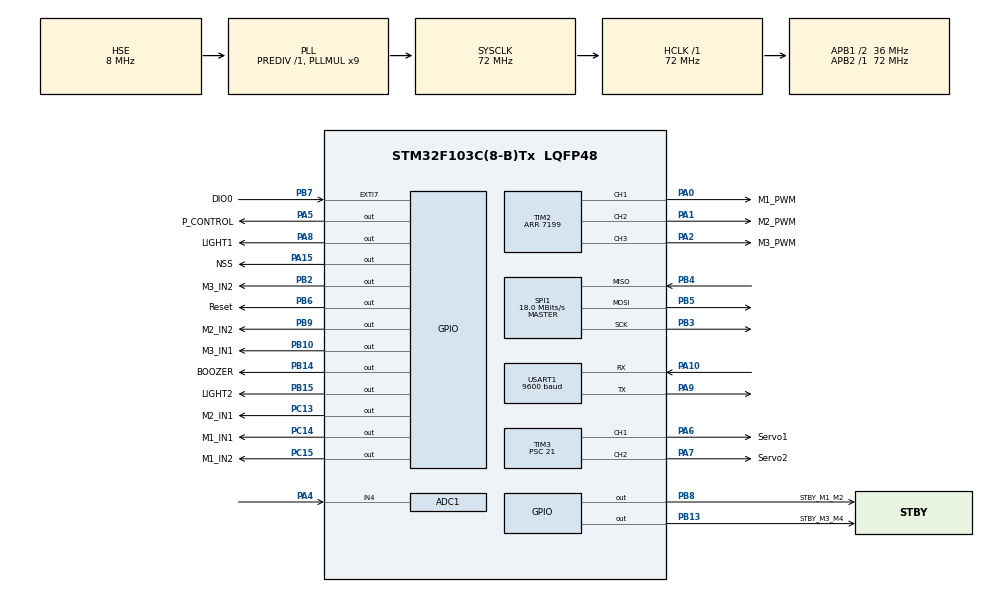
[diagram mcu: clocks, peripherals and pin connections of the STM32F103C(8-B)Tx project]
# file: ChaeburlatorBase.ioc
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ADC1.Channel-0\#ChannelRegularConversion=ADC_CHANNEL_4
ADC1.Channel-1\#ChannelRegularConversion=ADC_CHANNEL_4
ADC1.ContinuousConvMode=ENABLE
ADC1.NbrOfConversion=2
ADC1.NbrOfConversionFlag=1
ADC1.Rank-0\#ChannelRegularConversion=1
ADC1.Rank-1\#ChannelRegularConversion=2
ADC1.SamplingTime-0\#ChannelRegularConversion=ADC_SAMPLETIME_28CYCLES_5
ADC1.SamplingTime-1\#ChannelRegularConversion=ADC_SAMPLETIME_28CYCLES_5
ADC1.master=1
Dma.ADC1.0.Direction=DMA_PERIPH_TO_MEMORY
Dma.ADC1.0.Instance=DMA1_Channel1
Dma.ADC1.0.MemDataAlignment=DMA_MDATAALIGN_HALFWORD
Dma.ADC1.0.MemInc=DMA_MINC_ENABLE
Dma.ADC1.0.Mode=DMA_CIRCULAR
Dma.ADC1.0.PeriphDataAlignment=DMA_PDATAALIGN_HALFWORD
Dma.ADC1.0.PeriphInc=DMA_PINC_DISABLE
Dma.ADC1.0.Priority=DMA_PRIORITY_LOW
Dma.Request0=ADC1
FREERTOS.BinarySemaphores01=SemDMA_LoRa,Dynamic,NULL,Available;SemDMA_VoltMeas,Dynamic,NULL,Available
FREERTOS.INCLUDE_uxTaskGetStackHighWaterMark=1
FREERTOS.INCLUDE_xTaskGetHandle=1
FREERTOS.Queues01=UART_Rx_Que,30,uint8_t,0,Dynamic,NULL,NULL
FREERTOS.Tasks01=LoRaRx,1,90,StartLoRaRx,Default,NULL,Dynamic,NULL,NULL;Console,-2,180,StartConsole,Default,NULL,Dynamic,NULL,NULL;Motor1_2,-1,85,StartMotor1_2,Default,NULL,Dynamic,NULL,NULL;UARTOut,-2,200,StartUARTOut,Default,NULL,Dynamic,NULL,NULL;Serv1_2,-2,64,Servo_Cam_Steer,Default,NULL,Dynamic,NULL,NULL;Motor3,-1,64,StartMotor3,Default,NULL,Dynamic,NULL,NULL;VoltProtect,-1,64,StartVoltProtect,Default,NULL,Dynamic,NULL,NULL;LightSignal,-2,64,StartLightSignal,Default,NULL,Dynamic,NULL,NULL;SoundAlarm,-1,75,StartSoundAlarm,Default,NULL,Dynamic,NULL,NULL;DataProtect,0,300,StartDataProtect,Default,NULL,Dynamic,NULL,NULL
FREERTOS.configMAX_PRIORITIES=5
FREERTOS.configMINIMAL_STACK_SIZE=64
FREERTOS.configTOTAL_HEAP_SIZE=8000
FREERTOS.configUSE_NEWLIB_REENTRANT=1
FREERTOS.configUSE_TRACE_FACILITY=1
Mcu.Family=STM32F1
Mcu.Name=STM32F103C(8-B)Tx
Mcu.Package=LQFP48
NVIC.DMA1_Channel1_IRQn=true\:5\:0\:false\:false\:true\:true\:false\:true\:true
NVIC.EXTI9_5_IRQn=true\:5\:0\:false\:false\:true\:true\:true\:true\:true
NVIC.PriorityGroup=NVIC_PRIORITYGROUP_4
NVIC.TIM1_UP_IRQn=true\:5\:0\:false\:false\:true\:true\:true\:true\:true
NVIC.USART1_IRQn=true\:5\:0\:false\:false\:true\:true\:true\:true\:true
PA0-WKUP.GPIO_Label=M1_PWM
PA0-WKUP.Signal=S_TIM2_CH1_ETR
PA1.GPIO_Label=M2_PWM
PA1.Signal=S_TIM2_CH2
PA10.Mode=Asynchronous
PA10.Signal=USART1_RX
PA13.Mode=Serial_Wire
PA13.Signal=SYS_JTMS-SWDIO
PA14.Mode=Serial_Wire
PA14.Signal=SYS_JTCK-SWCLK
PA15.GPIO_Label=NSS
PA15.GPIO_PuPd=GPIO_PULLUP
PA15.Signal=GPIO_Output
PA2.GPIO_Label=M3_PWM
PA2.Signal=S_TIM2_CH3
PA4.Signal=ADCx_IN4
PA5.GPIO_Label=P_CONTROL
PA5.GPIO_PuPd=GPIO_PULLDOWN
PA5.Signal=GPIO_Output
PA6.GPIO_Label=Servo1
PA6.Signal=S_TIM3_CH1
PA7.GPIO_Label=Servo2
PA7.Signal=S_TIM3_CH2
PA8.GPIO_Label=LIGHT1
PA8.GPIO_PuPd=GPIO_PULLDOWN
PA8.PinState=GPIO_PIN_RESET
PA8.Signal=GPIO_Output
PA9.Mode=Asynchronous
PA9.Signal=USART1_TX
PB10.GPIO_Label=M3_IN1
PB10.Signal=GPIO_Output
PB13.GPIO_Label=STBY_M3_M4
PB13.Signal=GPIO_Output
PB14.GPIO_Label=BOOZER
PB14.GPIO_PuPd=GPIO_PULLDOWN
PB14.Signal=GPIO_Output
PB15.GPIO_Label=LIGHT2
PB15.GPIO_PuPd=GPIO_PULLDOWN
PB15.PinState=GPIO_PIN_RESET
PB15.Signal=GPIO_Output
PB2.GPIO_Label=M3_IN2
PB2.Signal=GPIO_Output
PB3.Mode=Full_Duplex_Master
PB3.Signal=SPI1_SCK
PB4.Mode=Full_Duplex_Master
PB4.Signal=SPI1_MISO
PB5.Mode=Full_Duplex_Master
PB5.Signal=SPI1_MOSI
PB6.GPIO_Label=Reset
PB6.GPIO_PuPd=GPIO_PULLUP
PB6.Signal=GPIO_Output
PB7.GPIO_Label=DIO0
PB7.GPIO_ModeDefaultEXTI=GPIO_MODE_IT_RISING
PB7.GPIO_PuPd=GPIO_PULLDOWN
PB7.Signal=GPXTI7
PB8.GPIO_Label=STBY_M1_M2
PB8.Signal=GPIO_Output
PB9.GPIO_Label=M2_IN2
PB9.Signal=GPIO_Output
PC13-TAMPER-RTC.GPIO_Label=M2_IN1
PC13-TAMPER-RTC.Signal=GPIO_Output
PC14-OSC32_IN.GPIO_Label=M1_IN1
PC14-OSC32_IN.Signal=GPIO_Output
PC15-OSC32_OUT.GPIO_Label=M1_IN2
PC15-OSC32_OUT.Signal=GPIO_Output
PD0-OSC_IN.Mode=HSE-External-Oscillator
PD0-OSC_IN.Signal=RCC_OSC_IN
PD1-OSC_OUT.Mode=HSE-External-Oscillator
PD1-OSC_OUT.Signal=RCC_OSC_OUT
ProjectManager.HeapSize=0x200
ProjectManager.StackSize=0x400
ProjectManager.TargetToolchain=STM32CubeIDE
RCC.ADCPresc=RCC_ADCPCLK2_DIV6
RCC.AHBFreq_Value=72000000
RCC.APB1CLKDivider=RCC_HCLK_DIV2
RCC.APB1Freq_Value=36000000
RCC.APB1TimFreq_Value=72000000
RCC.APB2Freq_Value=72000000
RCC.APB2TimFreq_Value=72000000
RCC.HCLKFreq_Value=72000000
RCC.PLLMUL=RCC_PLL_MUL9
RCC.PLLSourceVirtual=RCC_PLLSOURCE_HSE
RCC.SYSCLKFreq_VALUE=72000000
RCC.SYSCLKSource=RCC_SYSCLKSOURCE_PLLCLK
RCC.USBFreq_Value=72000000
SH.ADCx_IN4.0=ADC1_IN4,IN4
SH.S_TIM2_CH1_ETR.0=TIM2_CH1,PWM Generation1 CH1
SH.S_TIM2_CH2.0=TIM2_CH2,PWM Generation2 CH2
SH.S_TIM2_CH3.0=TIM2_CH3,PWM Generation3 CH3
SH.S_TIM3_CH1.0=TIM3_CH1,PWM Generation1 CH1
SH.S_TIM3_CH2.0=TIM3_CH2,PWM Generation2 CH2
SPI1.BaudRatePrescaler=SPI_BAUDRATEPRESCALER_4
SPI1.CalculateBaudRate=18.0 MBits/s
SPI1.Direction=SPI_DIRECTION_2LINES
SPI1.Mode=SPI_MODE_MASTER
SPI1.VirtualType=VM_MASTER
TIM1.Period=7199
TIM1.Prescaler=9999
TIM2.Channel-PWM\ Generation1\ CH1=TIM_CHANNEL_1
TIM2.Channel-PWM\ Generation2\ CH2=TIM_CHANNEL_2
TIM2.Channel-PWM\ Generation3\ CH3=TIM_CHANNEL_3
TIM2.Period=7199
TIM3.Channel-PWM\ Generation1\ CH1=TIM_CHANNEL_1
TIM3.Channel-PWM\ Generation2\ CH2=TIM_CHANNEL_2
TIM3.Prescaler=21
USART1.BaudRate=9600
USART1.Parity=PARITY_ODD
USART1.VirtualMode=VM_ASYNC
USART1.WordLength=WORDLENGTH_9B
VP_FREERTOS_VS_CMSIS_V1.Mode=CMSIS_V1
VP_TIM1_VS_ClockSourceINT.Mode=Internal
board=custom

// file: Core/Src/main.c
/* USER CODE BEGIN Header */
/**
  ******************************************************************************
  * @file           : main.c
  * @brief          : Main program body
  ******************************************************************************
  * @attention
  *
  * Copyright (c) 2025 STMicroelectronics.
  * All rights reserved.
  *
  * This software is licensed under terms that can be found in the LICENSE file
  * in the root directory of this software component.
  * If no LICENSE file comes with this software, it is provided AS-IS.
  *
  ******************************************************************************
  */
/* USER CODE END Header */
#include "main.h"
#include "cmsis_os.h"

/* USER CODE BEGIN Includes */
#include "UART_Outpt.h"
#include "Servo.h"
#include "ADC_LoadCell.h"
/* USER CODE END Includes */

/* USER CODE BEGIN PD */
#ifdef TestExecutor
 float Volt = 0; // Battery voltage
#endif

/* USER CODE END PD */

ADC_HandleTypeDef hadc1;
DMA_HandleTypeDef hdma_adc1;

SPI_HandleTypeDef hspi1;

TIM_HandleTypeDef htim1;
TIM_HandleTypeDef htim2;
TIM_HandleTypeDef htim3;

UART_HandleTypeDef huart1;

osThreadId LoRaRxHandle;
osThreadId ConsoleHandle;
osThreadId Motor1_2Handle;
osThreadId UARTOutHandle;
osThreadId Serv1_2Handle;
osThreadId Motor3Handle;
osThreadId VoltProtectHandle;
osThreadId LightSignalHandle;
osThreadId SoundAlarmHandle;
osThreadId DataProtectHandle;
osMessageQId UART_Rx_QueHandle;
osSemaphoreId SemDMA_LoRaHandle;
osSemaphoreId SemDMA_VoltMeasHandle;
/* USER CODE BEGIN PV */

EventGroupHandle_t xControlEventGroup;
//int8_t Acceleration;

/* USER CODE END PV */

void SystemClock_Config(void);
static void MX_GPIO_Init(void);
static void MX_DMA_Init(void);
static void MX_TIM2_Init(void);
static void MX_USART1_UART_Init(void);
static void MX_SPI1_Init(void);
static void MX_ADC1_Init(void);
static void MX_TIM1_Init(void);
static void MX_TIM3_Init(void);
void StartLoRaRx(void const * argument);
void StartConsole(void const * argument);
void StartMotor1_2(void const * argument);
void StartUARTOut(void const * argument);
void Servo_Cam_Steer(void const * argument);
void StartMotor3(void const * argument);
void StartVoltProtect(void const * argument);
void StartLightSignal(void const * argument);
void StartSoundAlarm(void const * argument);
void StartDataProtect(void const * argument);

int main(void)
{

  /* MCU Configuration--------------------------------------------------------*/

  /* Reset of all peripherals, Initializes the Flash interface and the Systick. */
  HAL_Init();

  /* Configure the system clock */
  SystemClock_Config();

  /* Initialize all configured peripherals */
  MX_GPIO_Init();
  MX_DMA_Init();
  MX_TIM2_Init();
  MX_USART1_UART_Init();
  MX_SPI1_Init();
  MX_ADC1_Init();
  MX_TIM1_Init();
  MX_TIM3_Init();

  /* Create the semaphores(s) */
  /* definition and creation of SemDMA_LoRa */
  osSemaphoreDef(SemDMA_LoRa);
  SemDMA_LoRaHandle = osSemaphoreCreate(osSemaphore(SemDMA_LoRa), 1);

  /* definition and creation of SemDMA_VoltMeas */
  osSemaphoreDef(SemDMA_VoltMeas);
  SemDMA_VoltMeasHandle = osSemaphoreCreate(osSemaphore(SemDMA_VoltMeas), 1);

  /* USER CODE BEGIN RTOS_SEMAPHORES */
  /* add semaphores, ... */
  osSemaphoreWait(SemDMA_LoRaHandle, 0);
  osSemaphoreWait(SemDMA_VoltMeasHandle, 0);
  /* USER CODE END RTOS_SEMAPHORES */

  /* USER CODE BEGIN RTOS_TIMERS */
  /* start timers, add new ones, ... */
  xControlEventGroup = xEventGroupCreate();
  /* USER CODE END RTOS_TIMERS */

  /* Create the queue(s) */
  /* definition and creation of UART_Rx_Que */
  osMessageQDef(UART_Rx_Que, 30, uint8_t);
  UART_Rx_QueHandle = osMessageCreate(osMessageQ(UART_Rx_Que), NULL);

  /* Create the thread(s) */
  /* definition and creation of LoRaRx */
  osThreadDef(LoRaRx, StartLoRaRx, osPriorityAboveNormal, 0, 90);
  LoRaRxHandle = osThreadCreate(osThread(LoRaRx), NULL);

  /* definition and creation of Console */
//  osThreadDef(Console, StartConsole, osPriorityLow, 0, 180);
//  ConsoleHandle = osThreadCreate(osThread(Console), NULL);

  /* definition and creation of Motor1_2 */
  osThreadDef(Motor1_2, StartMotor1_2, osPriorityBelowNormal, 0, 85);
  Motor1_2Handle = osThreadCreate(osThread(Motor1_2), NULL);

  /* definition and creation of UARTOut */
//  osThreadDef(UARTOut, StartUARTOut, osPriorityLow, 0, 200);
//  UARTOutHandle = osThreadCreate(osThread(UARTOut), NULL);

  /* definition and creation of Serv1_2 */
  osThreadDef(Serv1_2, Servo_Cam_Steer, osPriorityLow, 0, 64);
  Serv1_2Handle = osThreadCreate(osThread(Serv1_2), NULL);

  /* definition and creation of Motor3 */
  osThreadDef(Motor3, StartMotor3, osPriorityBelowNormal, 0, 64);
  Motor3Handle = osThreadCreate(osThread(Motor3), NULL);

  /* definition and creation of VoltProtect */
  osThreadDef(VoltProtect, StartVoltProtect, osPriorityBelowNormal, 0, 70);
  VoltProtectHandle = osThreadCreate(osThread(VoltProtect), NULL);

  /* definition and creation of LightSignal */
  osThreadDef(LightSignal, StartLightSignal, osPriorityLow, 0, 64);
  LightSignalHandle = osThreadCreate(osThread(LightSignal), NULL);

  /* definition and creation of SoundAlarm */
  osThreadDef(SoundAlarm, StartSoundAlarm, osPriorityBelowNormal, 0, 75);
  SoundAlarmHandle = osThreadCreate(osThread(SoundAlarm), NULL);

  /* definition and creation of DataProtect */
  osThreadDef(DataProtect, StartDataProtect, osPriorityNormal, 0, 300);
  DataProtectHandle = osThreadCreate(osThread(DataProtect), NULL);

  /* Start scheduler */
  osKernelStart();

  /* We should never get here as control is now taken by the scheduler */

  /* Infinite loop */
  while (1)
  {

  }
}

void SystemClock_Config(void)
{
  RCC_OscInitTypeDef RCC_OscInitStruct = {0};
  RCC_ClkInitTypeDef RCC_ClkInitStruct = {0};
  RCC_PeriphCLKInitTypeDef PeriphClkInit = {0};

  /** Initializes the RCC Oscillators according to the specified parameters
  * in the RCC_OscInitTypeDef structure.
  */
  RCC_OscInitStruct.OscillatorType = RCC_OSCILLATORTYPE_HSE;
  RCC_OscInitStruct.HSEState = RCC_HSE_ON;
  RCC_OscInitStruct.HSEPredivValue = RCC_HSE_PREDIV_DIV1;
  RCC_OscInitStruct.HSIState = RCC_HSI_ON;
  RCC_OscInitStruct.PLL.PLLState = RCC_PLL_ON;
  RCC_OscInitStruct.PLL.PLLSource = RCC_PLLSOURCE_HSE;
  RCC_OscInitStruct.PLL.PLLMUL = RCC_PLL_MUL9;
  if (HAL_RCC_OscConfig(&RCC_OscInitStruct) != HAL_OK)
  {
    Error_Handler();
  }

  /** Initializes the CPU, AHB and APB buses clocks
  */
  RCC_ClkInitStruct.ClockType = RCC_CLOCKTYPE_HCLK|RCC_CLOCKTYPE_SYSCLK
                              |RCC_CLOCKTYPE_PCLK1|RCC_CLOCKTYPE_PCLK2;
  RCC_ClkInitStruct.SYSCLKSource = RCC_SYSCLKSOURCE_PLLCLK;
  RCC_ClkInitStruct.AHBCLKDivider = RCC_SYSCLK_DIV1;
  RCC_ClkInitStruct.APB1CLKDivider = RCC_HCLK_DIV2;
  RCC_ClkInitStruct.APB2CLKDivider = RCC_HCLK_DIV1;

  if (HAL_RCC_ClockConfig(&RCC_ClkInitStruct, FLASH_LATENCY_2) != HAL_OK)
  {
    Error_Handler();
  }
  PeriphClkInit.PeriphClockSelection = RCC_PERIPHCLK_ADC;
  PeriphClkInit.AdcClockSelection = RCC_ADCPCLK2_DIV6;
  if (HAL_RCCEx_PeriphCLKConfig(&PeriphClkInit) != HAL_OK)
  {
    Error_Handler();
  }
}

static void MX_ADC1_Init(void)
{

  ADC_ChannelConfTypeDef sConfig = {0};

  /** Common config
  */
  hadc1.Instance = ADC1;
  hadc1.Init.ScanConvMode = ADC_SCAN_ENABLE;
  hadc1.Init.ContinuousConvMode = ENABLE;
  hadc1.Init.DiscontinuousConvMode = DISABLE;
  hadc1.Init.ExternalTrigConv = ADC_SOFTWARE_START;
  hadc1.Init.DataAlign = ADC_DATAALIGN_RIGHT;
  hadc1.Init.NbrOfConversion = 2;
  if (HAL_ADC_Init(&hadc1) != HAL_OK)
  {
    Error_Handler();
  }

  /** Configure Regular Channel
  */
  sConfig.Channel = ADC_CHANNEL_4;
  sConfig.Rank = ADC_REGULAR_RANK_1;
  sConfig.SamplingTime = ADC_SAMPLETIME_28CYCLES_5;
  if (HAL_ADC_ConfigChannel(&hadc1, &sConfig) != HAL_OK)
  {
    Error_Handler();
  }

  /** Configure Regular Channel
  */
  sConfig.Rank = ADC_REGULAR_RANK_2;
  if (HAL_ADC_ConfigChannel(&hadc1, &sConfig) != HAL_OK)
  {
    Error_Handler();
  }

}

static void MX_SPI1_Init(void)
{

  /* SPI1 parameter configuration*/
  hspi1.Instance = SPI1;
  hspi1.Init.Mode = SPI_MODE_MASTER;
  hspi1.Init.Direction = SPI_DIRECTION_2LINES;
  hspi1.Init.DataSize = SPI_DATASIZE_8BIT;
  hspi1.Init.CLKPolarity = SPI_POLARITY_LOW;
  hspi1.Init.CLKPhase = SPI_PHASE_1EDGE;
  hspi1.Init.NSS = SPI_NSS_SOFT;
  hspi1.Init.BaudRatePrescaler = SPI_BAUDRATEPRESCALER_4;
  hspi1.Init.FirstBit = SPI_FIRSTBIT_MSB;
  hspi1.Init.TIMode = SPI_TIMODE_DISABLE;
  hspi1.Init.CRCCalculation = SPI_CRCCALCULATION_DISABLE;
  hspi1.Init.CRCPolynomial = 10;
  if (HAL_SPI_Init(&hspi1) != HAL_OK)
  {
    Error_Handler();
  }

}

static void MX_TIM1_Init(void)
{

  TIM_ClockConfigTypeDef sClockSourceConfig = {0};
  TIM_MasterConfigTypeDef sMasterConfig = {0};

  htim1.Instance = TIM1;
  htim1.Init.Prescaler = 9999;
  htim1.Init.CounterMode = TIM_COUNTERMODE_UP;
  htim1.Init.Period = 7199;
  htim1.Init.ClockDivision = TIM_CLOCKDIVISION_DIV1;
  htim1.Init.RepetitionCounter = 0;
  htim1.Init.AutoReloadPreload = TIM_AUTORELOAD_PRELOAD_DISABLE;
  if (HAL_TIM_Base_Init(&htim1) != HAL_OK)
  {
    Error_Handler();
  }
  sClockSourceConfig.ClockSource = TIM_CLOCKSOURCE_INTERNAL;
  if (HAL_TIM_ConfigClockSource(&htim1, &sClockSourceConfig) != HAL_OK)
  {
    Error_Handler();
  }
  sMasterConfig.MasterOutputTrigger = TIM_TRGO_RESET;
  sMasterConfig.MasterSlaveMode = TIM_MASTERSLAVEMODE_DISABLE;
  if (HAL_TIMEx_MasterConfigSynchronization(&htim1, &sMasterConfig) != HAL_OK)
  {
    Error_Handler();
  }

}

static void MX_TIM2_Init(void)
{

  TIM_MasterConfigTypeDef sMasterConfig = {0};
  TIM_OC_InitTypeDef sConfigOC = {0};

  htim2.Instance = TIM2;
  htim2.Init.Prescaler = 0;
  htim2.Init.CounterMode = TIM_COUNTERMODE_UP;
  htim2.Init.Period = 7199;
  htim2.Init.ClockDivision = TIM_CLOCKDIVISION_DIV1;
  htim2.Init.AutoReloadPreload = TIM_AUTORELOAD_PRELOAD_DISABLE;
  if (HAL_TIM_PWM_Init(&htim2) != HAL_OK)
  {
    Error_Handler();
  }
  sMasterConfig.MasterOutputTrigger = TIM_TRGO_RESET;
  sMasterConfig.MasterSlaveMode = TIM_MASTERSLAVEMODE_DISABLE;
  if (HAL_TIMEx_MasterConfigSynchronization(&htim2, &sMasterConfig) != HAL_OK)
  {
    Error_Handler();
  }
  sConfigOC.OCMode = TIM_OCMODE_PWM1;
  sConfigOC.Pulse = 0;
  sConfigOC.OCPolarity = TIM_OCPOLARITY_HIGH;
  sConfigOC.OCFastMode = TIM_OCFAST_DISABLE;
  if (HAL_TIM_PWM_ConfigChannel(&htim2, &sConfigOC, TIM_CHANNEL_1) != HAL_OK)
  {
    Error_Handler();
  }
  if (HAL_TIM_PWM_ConfigChannel(&htim2, &sConfigOC, TIM_CHANNEL_2) != HAL_OK)
  {
    Error_Handler();
  }
  if (HAL_TIM_PWM_ConfigChannel(&htim2, &sConfigOC, TIM_CHANNEL_3) != HAL_OK)
  {
    Error_Handler();
  }
  HAL_TIM_MspPostInit(&htim2);

}

static void MX_TIM3_Init(void)
{

  TIM_MasterConfigTypeDef sMasterConfig = {0};
  TIM_OC_InitTypeDef sConfigOC = {0};

  htim3.Instance = TIM3;
  htim3.Init.Prescaler = 21;
  htim3.Init.CounterMode = TIM_COUNTERMODE_UP;
  htim3.Init.Period = 65535;
  htim3.Init.ClockDivision = TIM_CLOCKDIVISION_DIV1;
  htim3.Init.AutoReloadPreload = TIM_AUTORELOAD_PRELOAD_DISABLE;
  if (HAL_TIM_PWM_Init(&htim3) != HAL_OK)
  {
    Error_Handler();
  }
  sMasterConfig.MasterOutputTrigger = TIM_TRGO_RESET;
  sMasterConfig.MasterSlaveMode = TIM_MASTERSLAVEMODE_DISABLE;
  if (HAL_TIMEx_MasterConfigSynchronization(&htim3, &sMasterConfig) != HAL_OK)
  {
    Error_Handler();
  }
  sConfigOC.OCMode = TIM_OCMODE_PWM1;
  sConfigOC.Pulse = 0;
  sConfigOC.OCPolarity = TIM_OCPOLARITY_HIGH;
  sConfigOC.OCFastMode = TIM_OCFAST_DISABLE;
  if (HAL_TIM_PWM_ConfigChannel(&htim3, &sConfigOC, TIM_CHANNEL_1) != HAL_OK)
  {
    Error_Handler();
  }
  if (HAL_TIM_PWM_ConfigChannel(&htim3, &sConfigOC, TIM_CHANNEL_2) != HAL_OK)
  {
    Error_Handler();
  }
  HAL_TIM_MspPostInit(&htim3);

}

static void MX_USART1_UART_Init(void)
{

  huart1.Instance = USART1;
  huart1.Init.BaudRate = 9600;
  huart1.Init.WordLength = UART_WORDLENGTH_9B;
  huart1.Init.StopBits = UART_STOPBITS_1;
  huart1.Init.Parity = UART_PARITY_ODD;
  huart1.Init.Mode = UART_MODE_TX_RX;
  huart1.Init.HwFlowCtl = UART_HWCONTROL_NONE;
  huart1.Init.OverSampling = UART_OVERSAMPLING_16;
  if (HAL_UART_Init(&huart1) != HAL_OK)
  {
    Error_Handler();
  }

}

static void MX_DMA_Init(void)
{

  /* DMA controller clock enable */
  __HAL_RCC_DMA1_CLK_ENABLE();

  /* DMA interrupt init */
  /* DMA1_Channel1_IRQn interrupt configuration */
  HAL_NVIC_SetPriority(DMA1_Channel1_IRQn, 5, 0);
  HAL_NVIC_EnableIRQ(DMA1_Channel1_IRQn);

}

static void MX_GPIO_Init(void)
{
  GPIO_InitTypeDef GPIO_InitStruct = {0};

  /* GPIO Ports Clock Enable */
  __HAL_RCC_GPIOC_CLK_ENABLE();
  __HAL_RCC_GPIOD_CLK_ENABLE();
  __HAL_RCC_GPIOA_CLK_ENABLE();
  __HAL_RCC_GPIOB_CLK_ENABLE();

  /*Configure GPIO pin Output Level */
  HAL_GPIO_WritePin(GPIOC, M2_IN1_Pin|M1_IN1_Pin|M1_IN2_Pin, GPIO_PIN_RESET);

  /*Configure GPIO pin Output Level */
  HAL_GPIO_WritePin(GPIOA, P_CONTROL_Pin|LIGHT1_Pin|NSS_Pin, GPIO_PIN_RESET);

  /*Configure GPIO pin Output Level */
  HAL_GPIO_WritePin(GPIOB, M3_IN2_Pin|M3_IN1_Pin|STBY_M3_M4_Pin|BOOZER_Pin
                          |LIGHT2_Pin|Reset_Pin|STBY_M1_M2_Pin|M2_IN2_Pin, GPIO_PIN_RESET);

  /*Configure GPIO pins : M2_IN1_Pin M1_IN1_Pin M1_IN2_Pin */
  GPIO_InitStruct.Pin = M2_IN1_Pin|M1_IN1_Pin|M1_IN2_Pin;
  GPIO_InitStruct.Mode = GPIO_MODE_OUTPUT_PP;
  GPIO_InitStruct.Pull = GPIO_NOPULL;
  GPIO_InitStruct.Speed = GPIO_SPEED_FREQ_LOW;
  HAL_GPIO_Init(GPIOC, &GPIO_InitStruct);

  /*Configure GPIO pins : P_CONTROL_Pin LIGHT1_Pin */
  GPIO_InitStruct.Pin = P_CONTROL_Pin|LIGHT1_Pin;
  GPIO_InitStruct.Mode = GPIO_MODE_OUTPUT_PP;
  GPIO_InitStruct.Pull = GPIO_PULLDOWN;
  GPIO_InitStruct.Speed = GPIO_SPEED_FREQ_LOW;
  HAL_GPIO_Init(GPIOA, &GPIO_InitStruct);

  /*Configure GPIO pins : M3_IN2_Pin M3_IN1_Pin STBY_M3_M4_Pin STBY_M1_M2_Pin
                           M2_IN2_Pin */
  GPIO_InitStruct.Pin = M3_IN2_Pin|M3_IN1_Pin|STBY_M3_M4_Pin|STBY_M1_M2_Pin
                          |M2_IN2_Pin;
  GPIO_InitStruct.Mode = GPIO_MODE_OUTPUT_PP;
  GPIO_InitStruct.Pull = GPIO_NOPULL;
  GPIO_InitStruct.Speed = GPIO_SPEED_FREQ_LOW;
  HAL_GPIO_Init(GPIOB, &GPIO_InitStruct);

  /*Configure GPIO pins : BOOZER_Pin LIGHT2_Pin */
  GPIO_InitStruct.Pin = BOOZER_Pin|LIGHT2_Pin;
  GPIO_InitStruct.Mode = GPIO_MODE_OUTPUT_PP;
  GPIO_InitStruct.Pull = GPIO_PULLDOWN;
  GPIO_InitStruct.Speed = GPIO_SPEED_FREQ_LOW;
  HAL_GPIO_Init(GPIOB, &GPIO_InitStruct);

  /*Configure GPIO pin : NSS_Pin */
  GPIO_InitStruct.Pin = NSS_Pin;
  GPIO_InitStruct.Mode = GPIO_MODE_OUTPUT_PP;
  GPIO_InitStruct.Pull = GPIO_PULLUP;
  GPIO_InitStruct.Speed = GPIO_SPEED_FREQ_LOW;
  HAL_GPIO_Init(NSS_GPIO_Port, &GPIO_InitStruct);

  /*Configure GPIO pin : Reset_Pin */
  GPIO_InitStruct.Pin = Reset_Pin;
  GPIO_InitStruct.Mode = GPIO_MODE_OUTPUT_PP;
  GPIO_InitStruct.Pull = GPIO_PULLUP;
  GPIO_InitStruct.Speed = GPIO_SPEED_FREQ_LOW;
  HAL_GPIO_Init(Reset_GPIO_Port, &GPIO_InitStruct);

  /*Configure GPIO pin : DIO0_Pin */
  GPIO_InitStruct.Pin = DIO0_Pin;
  GPIO_InitStruct.Mode = GPIO_MODE_IT_RISING;
  GPIO_InitStruct.Pull = GPIO_PULLDOWN;
  HAL_GPIO_Init(DIO0_GPIO_Port, &GPIO_InitStruct);

  /* EXTI interrupt init*/
  HAL_NVIC_SetPriority(EXTI9_5_IRQn, 5, 0);
  HAL_NVIC_EnableIRQ(EXTI9_5_IRQn);

}

/* USER CODE BEGIN Header_StartLoRaRx */
/**
  * @brief  Function implementing the LoRaRx thread.
  * @param  argument: Not used
  * @retval None
 * PB7 	DIO0
 * PB6	Reset
 * PB5	SPI1_MOSI
 * PB4	SPII_MISO
 * PB3	SPI1_SCK
 * PA15	NSS
  */
/* USER CODE END Header_StartLoRaRx */
void StartLoRaRx(void const * argument)
{
  /* USER CODE BEGIN 5 */
	ZeroCommArr();
	xEventGroupSetBits(xControlEventGroup, BIT_ACCEPT_PAC);
	SX1276Init();
	InitRxContLoRa();
	StartRxContLoRa();
  /* Infinite loop */
  for(;;)
  {// Waits for semaphore from IT.
	 xSemaphoreTake(SemDMA_LoRaHandle,portMAX_DELAY);
		// generates an array of commands based on the received data
	 xEventGroupWaitBits(xControlEventGroup, BIT_ACCEPT_PAC, pdFALSE, pdFALSE, portMAX_DELAY);
	 StartRxContLoRa();
	 CalcRxCommands();
  }
  /* USER CODE END 5 */
}

void StartConsole(void const * argument)
{
  /* USER CODE BEGIN StartConsole */
	MyConsole_Setup();
	uint8_t Buffer[64];
	uint32_t len;
  /* Infinite loop */
  for(;;)
  {
	len = USART1_Receive(0x0D,Buffer,sizeof(Buffer),portMAX_DELAY);
	console_process(Buffer, len);
  }
  /* USER CODE END StartConsole */
}

void StartMotor1_2(void const * argument)
{
  /* USER CODE BEGIN StartMotor1_2 */
	DC_Motor Motor1 = {0};
	Motor1.PinIn1 = M1_IN1_Pin;
	Motor1.PinIn2 = M1_IN2_Pin;
	Motor1.PortIn1 = M1_IN1_GPIO_Port;
	Motor1.PortIn2 = M1_IN2_GPIO_Port;
	Motor1.StbyPin = STBY_M1_M2_Pin;
	Motor1.StbyPort = STBY_M1_M2_GPIO_Port;
	Motor1.pwm_register_ptr = &(htim2.Instance->CCR1);
	HAL_TIM_PWM_Start(&htim2, TIM_CHANNEL_1);
//	TestMotor(&Motor1, acceleration);

	DC_Motor Motor2 = {0};
	Motor2.PinIn1 = M2_IN1_Pin;
	Motor2.PinIn2 = M2_IN2_Pin;
	Motor2.PortIn1 = M2_IN1_GPIO_Port;
	Motor2.PortIn2 = M2_IN2_GPIO_Port;
	Motor2.StbyPin = STBY_M1_M2_Pin;
	Motor2.StbyPort = STBY_M1_M2_GPIO_Port;
	Motor2.pwm_register_ptr = &(htim2.Instance->CCR2);
	HAL_TIM_PWM_Start(&htim2, TIM_CHANNEL_2);

	xEventGroupSetBits(xControlEventGroup, BIT_ENGIN_START);
  /* Infinite loop */
  for(;;)
  {
	  xEventGroupWaitBits(xControlEventGroup, BIT_ENGIN_START, pdFALSE, pdFALSE, portMAX_DELAY);
	  Engine_Control(Acceleration,&Motor1, &Motor2);
	  osDelay(10);
  }
  /* USER CODE END StartMotor1_2 */
}

void StartUARTOut(void const * argument)
{
  /* USER CODE BEGIN StartUARTOut */
	ModeOutput = 0;
  /* Infinite loop */
  for(;;)
  {
	  switch (ModeOutput) {

	  case(0) : {
		  osDelay(2000);
		  break;
	  }
	  case(1) : {
		  OutDataRxLoRa(&huart1);
		  osDelay(1000);
		  break;
	  }
	  case(2) : {
		  OurServRotPerc(&huart1);
		  osDelay(1000);
		  break;
	  }
	  case(3) : {
		  // Stops the data protection task when outputting data.
		  // Starts only on reboot?
		  // Can Mtex be used for synchronization?
		  // Does this task take it when it starts working.
		  // and releases it when ModeOutput = 0?
		  NumRxPack(&huart1);
		  osDelay(1000);
		  break;
	  }
	  case(4) : { // output of measured ADC voltages.
		  osDelay(5020);
		  OutMeasVal(&huart1);

	  }
	  default : {
		  osDelay(2000);
		  break;
	  }
	  }
  }
  /* USER CODE END StartUARTOut */
}

/* USER CODE BEGIN Header_Servo_Cam_Steer */
/**
* @brief Function implementing the Serv1_2 thread.
*
* @param argument: Not used
* @retval None
*/
/* USER CODE END Header_Servo_Cam_Steer */
void Servo_Cam_Steer(void const * argument)
{
  /* USER CODE BEGIN Servo_Cam_Steer */

	ServoStartInit(&htim3, TIM_CHANNEL_2);
	ServoStartInit(&htim3, TIM_CHANNEL_1);
	HAL_GPIO_WritePin(GPIOA, P_CONTROL_Pin, GPIO_PIN_SET);
  /* Infinite loop */
  for(;;)
  {
	  ServRot(&htim3, TIM_CHANNEL_2,  SteerTurn);
	  ServRot(&htim3, TIM_CHANNEL_1,  CamVertical);

    osDelay(20);
  }
  /* USER CODE END Servo_Cam_Steer */
}

void StartMotor3(void const * argument)
{
  /* USER CODE BEGIN StartMotor3 */
	DC_Motor Motor3 = {0};
		Motor3.PinIn1 = M3_IN1_Pin;
		Motor3.PinIn2 = M3_IN2_Pin;
		Motor3.PortIn1 = M3_IN1_GPIO_Port;
		Motor3.PortIn2 = M3_IN2_GPIO_Port;
		Motor3.StbyPin = STBY_M3_M4_Pin;
		Motor3.StbyPort = STBY_M3_M4_GPIO_Port;
		Motor3.pwm_register_ptr = &(htim2.Instance->CCR3);
		HAL_TIM_PWM_Start(&htim2, TIM_CHANNEL_3);
  /* Infinite loop */
  for(;;)
  {
	Engine1_Control(CamHorizont, &Motor3);
    osDelay(20);
  }
  /* USER CODE END StartMotor3 */
}

/* USER CODE BEGIN Header_StartVoltProtect */
/**
* @brief Function implementing the VoltProtect thread.
* @param argument: Not used
* @retval None
*
*/
/* USER CODE END Header_StartVoltProtect */
void StartVoltProtect(void const * argument)
{
  /* USER CODE BEGIN StartVoltProtect */
	uint8_t BatteryStatus = 0;
	uint8_t NumberDrawd	  = 0;

	float U = 0;

	// calibration to improve accuracy
	HAL_ADCEx_Calibration_Start(&hadc1);
  /* Infinite loop */
  for(;;)
  {
	StartMeasure(&hadc1);
	//Waiting for a semophore indicating that the transformation is complete.
	xSemaphoreTake(SemDMA_VoltMeasHandle,portMAX_DELAY);

	//calculation of the obtained values
	U = VoltageCalc();

	#ifdef TestExecutor
	Volt = U;
	#endif

	BatteryStatus = CheckBatVolt(U);

	switch (BatteryStatus) {
	case VOLT_CAUTION :{
//	  		  vTaskResume(LightSignalHandle);
		Caution();
	  	break;
	}
	case VOLT_SHUTDOWN :{ // unlock alarm and block all tasks
		NumberDrawd++;
		if(NumberDrawd > 2){
			NumberDrawd = 0;
			EmergMode();
		}
		break;
	}
	default :{
		xEventGroupClearBits(xControlEventGroup, BIT_LIGHT_SIGNAL);
		HAL_GPIO_WritePin(LIGHT2_GPIO_Port, LIGHT2_Pin, GPIO_PIN_RESET);
	}

	}
	osDelay(5000);
  }
  /* USER CODE END StartVoltProtect */
}

void StartLightSignal(void const * argument)
{
  /* USER CODE BEGIN StartLightSignal */
  /* Infinite loop */
  for(;;)
  {
	  // The task will be blocked until BIT_LIGHT_SIGNAL is set
	  // will work until reset
	xEventGroupWaitBits(xControlEventGroup, BIT_LIGHT_SIGNAL, pdFALSE, pdFALSE, portMAX_DELAY);
	HAL_GPIO_TogglePin(LIGHT2_GPIO_Port, LIGHT2_Pin);
	osDelay(500);
  }
  /* USER CODE END StartLightSignal */
}

void StartSoundAlarm(void const * argument)
{
  /* USER CODE BEGIN StartSoundAlarm */
  /* Infinite loop */
  for(;;)
  {
	  xEventGroupWaitBits(xControlEventGroup, BIT_SOUND_ALARM, pdFALSE, pdFALSE, portMAX_DELAY);
	  HAL_GPIO_TogglePin(BOOZER_GPIO_Port, BOOZER_Pin);
	  osDelay(150);
	  HAL_GPIO_TogglePin(BOOZER_GPIO_Port, BOOZER_Pin);
	  osDelay(1000);
  }
  /* USER CODE END StartSoundAlarm */
}

void StartDataProtect(void const * argument)
{
  /* USER CODE BEGIN StartDataProtect */
	uint32_t SecRecDemage = 0;
	float PercDem = 0;
  /* Infinite loop */
  for(;;)
  {
	  if(NumSuccessPack>0){
		  PercDem = ((float)PayLoadCRCError/NumSuccessPack);
		  if(PercDem > 0.75){
			  Label:
			  SecRecDemage++;
			  if(SecRecDemage > 0){
				  xEventGroupSetBits(xControlEventGroup, BIT_LIGHT_SIGNAL);
				  xEventGroupSetBits(xControlEventGroup, BIT_SOUND_ALARM);

				  xEventGroupClearBits(xControlEventGroup, BIT_ACCEPT_PAC);
				  ZeroCommArr();
				  osDelay(1000);
				  xEventGroupClearBits(xControlEventGroup, BIT_ENGIN_START);
				  xEventGroupSetBits(xControlEventGroup, BIT_ACCEPT_PAC);
			  }
		  }
		  else {
			  if(SecRecDemage > 0){
				  if(BatteryStatus == BATTERY_OK){
					  // If the battery is OK, turn off the alarm.
					  xEventGroupClearBits(xControlEventGroup, BIT_LIGHT_SIGNAL);
					  xEventGroupClearBits(xControlEventGroup, BIT_SOUND_ALARM);
					  xEventGroupSetBits(xControlEventGroup, BIT_ENGIN_START);
					  SecRecDemage = 0;
				  }
			  }
		  }
	  }
	  else {

		  goto Label;
	  }
	  PayLoadCRCError = 0;
	  NumSuccessPack = 0;

	  osDelay(1000);
  }
  /* USER CODE END StartDataProtect */
}

void Error_Handler(void)
{
  __disable_irq();
  while (1)
  {
  }
}
